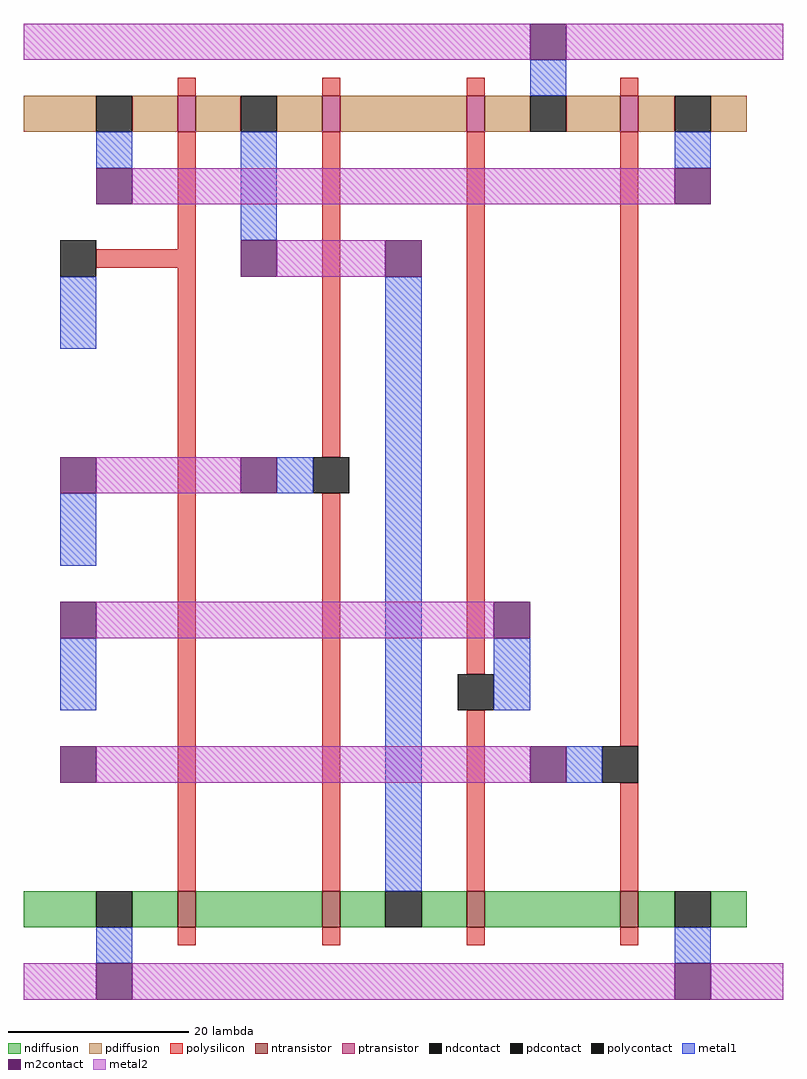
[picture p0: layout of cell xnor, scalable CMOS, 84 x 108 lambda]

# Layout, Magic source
magic
tech scmos
<< polysilicon >>
rect 1 92 3 94
rect 17 92 19 94
rect 33 92 35 94
rect 50 92 52 94
rect 1 75 3 88
rect -8 73 3 75
rect 1 4 3 73
rect 17 52 19 88
rect 17 4 19 48
rect 33 28 35 88
rect 33 4 35 24
rect 50 20 52 88
rect 50 4 52 16
rect 1 -2 3 0
rect 17 -2 19 0
rect 33 -2 35 0
rect 50 -2 52 0
<< ndiffusion >>
rect -16 0 -8 4
rect -4 0 1 4
rect 3 0 17 4
rect 19 0 24 4
rect 28 0 33 4
rect 35 0 50 4
rect 52 0 56 4
rect 60 0 64 4
<< pdiffusion >>
rect -16 88 -8 92
rect -4 88 1 92
rect 3 88 8 92
rect 12 88 17 92
rect 19 88 33 92
rect 35 88 40 92
rect 44 88 50 92
rect 52 88 56 92
rect 60 88 64 92
<< metal1 >>
rect 40 92 44 96
rect -8 84 -4 88
rect 8 76 12 88
rect 56 84 60 88
rect -12 64 -8 72
rect 12 48 16 52
rect -12 40 -8 48
rect -12 24 -8 32
rect 24 4 28 72
rect 36 24 40 32
rect 44 16 48 20
rect -8 -4 -4 0
rect 56 -4 60 0
<< metal2 >>
rect -16 96 40 100
rect 44 96 68 100
rect -4 80 56 84
rect 12 72 24 76
rect -8 48 8 52
rect -8 32 36 36
rect -8 16 40 20
rect -16 -8 -8 -4
rect -4 -8 56 -4
rect 60 -8 68 -4
<< ntransistor >>
rect 1 0 3 4
rect 17 0 19 4
rect 33 0 35 4
rect 50 0 52 4
<< ptransistor >>
rect 1 88 3 92
rect 17 88 19 92
rect 33 88 35 92
rect 50 88 52 92
<< polycontact >>
rect -12 72 -8 76
rect 16 48 20 52
rect 32 24 36 28
rect 48 16 52 20
<< ndcontact >>
rect -8 0 -4 4
rect 24 0 28 4
rect 56 0 60 4
<< pdcontact >>
rect -8 88 -4 92
rect 8 88 12 92
rect 40 88 44 92
rect 56 88 60 92
<< m2contact >>
rect 40 96 44 100
rect -8 80 -4 84
rect 56 80 60 84
rect 8 72 12 76
rect 24 72 28 76
rect -12 48 -8 52
rect 8 48 12 52
rect -12 32 -8 36
rect -12 16 -8 20
rect 36 32 40 36
rect 40 16 44 20
rect -8 -8 -4 -4
rect 56 -8 60 -4
<< end >>
